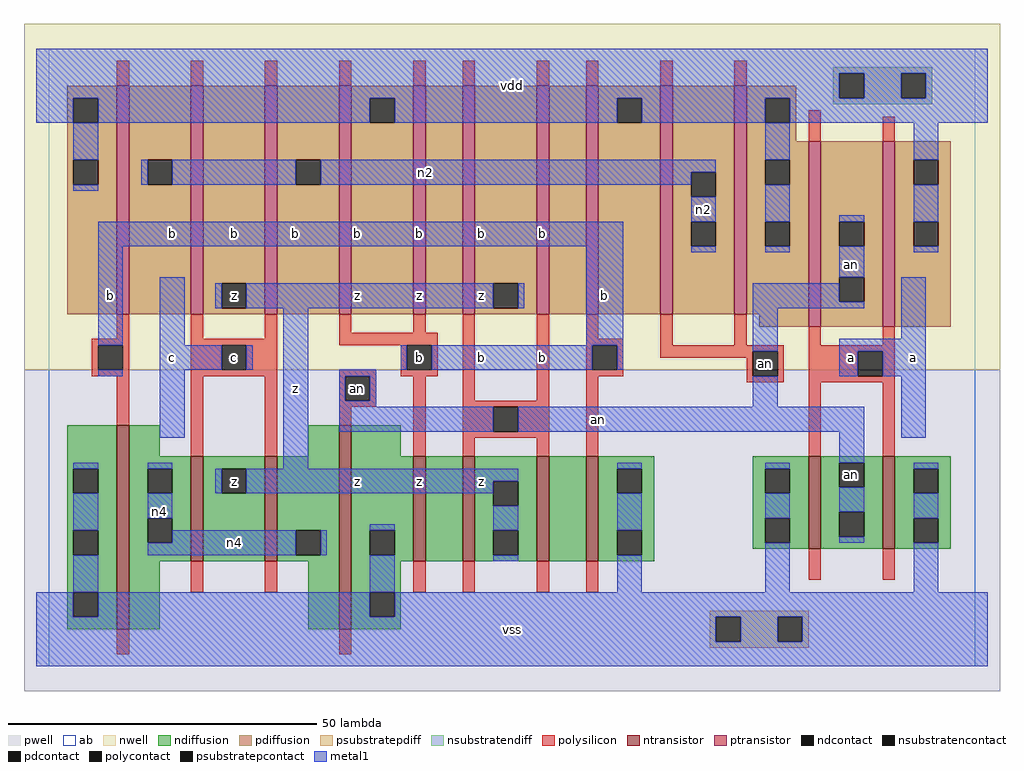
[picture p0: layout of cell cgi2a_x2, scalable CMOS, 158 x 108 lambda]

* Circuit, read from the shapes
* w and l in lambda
.subckt cgi2a_x2 a an b c n2 n4 vdd vss z
M1 n4 b vss vss nfet w=33 l=2
M2 z c n4 vss nfet w=17 l=2 m=2
M3 vss an n4 vss nfet w=33 l=2
M4 n1 b vss vss nfet w=17 l=2
M5 z an n1 vss nfet w=17 l=2
M6 n3 an z vss nfet w=17 l=2
M7 vss b n3 vss nfet w=17 l=2
M8 an a vss vss nfet w=15 l=2 m=2
M9 n2 b vdd vdd pfet w=37 l=2 m=2
M10 z c n2 vdd pfet w=37 l=2 m=2
M11 n5 b vdd vdd pfet w=37 l=2
M12 z an n5 vdd pfet w=37 l=2
M13 n6 an z vdd pfet w=37 l=2
M14 vdd b n6 vdd pfet w=37 l=2
M15 n2 an vdd vdd pfet w=37 l=2 m=2
M16 an a vdd vdd pfet w=30 l=2 m=2
.ends

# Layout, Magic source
magic
tech scmos
<< ab >>
rect 0 0 150 100
<< pwell >>
rect -4 -4 154 48
<< nwell >>
rect -4 48 154 104
<< polysilicon >>
rect 11 94 13 98
rect 23 94 25 98
rect 35 94 37 98
rect 47 94 49 98
rect 59 94 61 98
rect 67 94 69 98
rect 79 94 81 98
rect 87 94 89 98
rect 99 94 101 98
rect 111 94 113 98
rect 123 85 125 90
rect 135 85 137 89
rect 11 53 13 57
rect 7 52 13 53
rect 7 48 8 52
rect 12 48 13 52
rect 7 47 13 48
rect 11 39 13 47
rect 23 53 25 57
rect 35 53 37 57
rect 23 52 37 53
rect 47 54 49 57
rect 59 54 61 57
rect 47 52 63 54
rect 23 48 28 52
rect 32 48 37 52
rect 57 48 58 52
rect 62 48 63 52
rect 23 47 37 48
rect 23 34 25 47
rect 35 34 37 47
rect 47 47 53 48
rect 57 47 63 48
rect 47 43 48 47
rect 52 43 53 47
rect 47 42 53 43
rect 47 39 49 42
rect 23 12 25 17
rect 35 12 37 17
rect 59 34 61 47
rect 67 43 69 57
rect 79 43 81 57
rect 67 42 81 43
rect 67 38 72 42
rect 76 38 81 42
rect 67 37 81 38
rect 67 34 69 37
rect 79 34 81 37
rect 87 53 89 57
rect 87 52 93 53
rect 87 48 88 52
rect 92 48 93 52
rect 99 52 101 57
rect 111 52 113 57
rect 123 52 125 55
rect 135 52 137 55
rect 99 51 119 52
rect 99 50 114 51
rect 87 47 93 48
rect 113 47 114 50
rect 118 47 119 51
rect 87 34 89 47
rect 113 46 119 47
rect 123 51 137 52
rect 123 47 131 51
rect 135 47 137 51
rect 123 46 137 47
rect 123 34 125 46
rect 135 34 137 46
rect 59 12 61 17
rect 67 12 69 17
rect 79 12 81 17
rect 87 12 89 17
rect 123 14 125 19
rect 135 14 137 19
rect 11 2 13 6
rect 47 2 49 6
<< ndiffusion >>
rect 3 32 11 39
rect 3 28 4 32
rect 8 28 11 32
rect 3 22 11 28
rect 3 18 4 22
rect 8 18 11 22
rect 3 12 11 18
rect 3 8 4 12
rect 8 8 11 12
rect 3 6 11 8
rect 13 34 18 39
rect 42 34 47 39
rect 13 32 23 34
rect 13 28 16 32
rect 20 28 23 32
rect 13 24 23 28
rect 13 20 16 24
rect 20 20 23 24
rect 13 17 23 20
rect 25 32 35 34
rect 25 28 28 32
rect 32 28 35 32
rect 25 17 35 28
rect 37 22 47 34
rect 37 18 40 22
rect 44 18 47 22
rect 37 17 47 18
rect 13 6 18 17
rect 42 6 47 17
rect 49 34 57 39
rect 49 22 59 34
rect 49 18 52 22
rect 56 18 59 22
rect 49 17 59 18
rect 61 17 67 34
rect 69 30 79 34
rect 69 26 72 30
rect 76 26 79 30
rect 69 22 79 26
rect 69 18 72 22
rect 76 18 79 22
rect 69 17 79 18
rect 81 17 87 34
rect 89 32 98 34
rect 89 28 92 32
rect 96 28 98 32
rect 89 22 98 28
rect 89 18 92 22
rect 96 18 98 22
rect 114 32 123 34
rect 114 28 116 32
rect 120 28 123 32
rect 114 24 123 28
rect 114 20 116 24
rect 120 20 123 24
rect 114 19 123 20
rect 125 33 135 34
rect 125 29 128 33
rect 132 29 135 33
rect 125 25 135 29
rect 125 21 128 25
rect 132 21 135 25
rect 125 19 135 21
rect 137 32 146 34
rect 137 28 140 32
rect 144 28 146 32
rect 137 24 146 28
rect 137 20 140 24
rect 144 20 146 24
rect 137 19 146 20
rect 89 17 98 18
rect 49 12 57 17
rect 49 8 52 12
rect 56 8 57 12
rect 49 6 57 8
<< pdiffusion >>
rect 3 92 11 94
rect 3 88 4 92
rect 8 88 11 92
rect 3 82 11 88
rect 3 78 4 82
rect 8 78 11 82
rect 3 57 11 78
rect 13 82 23 94
rect 13 78 16 82
rect 20 78 23 82
rect 13 57 23 78
rect 25 62 35 94
rect 25 58 28 62
rect 32 58 35 62
rect 25 57 35 58
rect 37 82 47 94
rect 37 78 40 82
rect 44 78 47 82
rect 37 57 47 78
rect 49 92 59 94
rect 49 88 52 92
rect 56 88 59 92
rect 49 57 59 88
rect 61 57 67 94
rect 69 62 79 94
rect 69 58 72 62
rect 76 58 79 62
rect 69 57 79 58
rect 81 57 87 94
rect 89 92 99 94
rect 89 88 92 92
rect 96 88 99 92
rect 89 57 99 88
rect 101 80 111 94
rect 101 76 104 80
rect 108 76 111 80
rect 101 72 111 76
rect 101 68 104 72
rect 108 68 111 72
rect 101 57 111 68
rect 113 92 121 94
rect 113 88 116 92
rect 120 88 121 92
rect 113 85 121 88
rect 113 82 123 85
rect 113 78 116 82
rect 120 78 123 82
rect 113 72 123 78
rect 113 68 116 72
rect 120 68 123 72
rect 113 57 123 68
rect 115 55 123 57
rect 125 72 135 85
rect 125 68 128 72
rect 132 68 135 72
rect 125 63 135 68
rect 125 59 128 63
rect 132 59 135 63
rect 125 55 135 59
rect 137 82 146 85
rect 137 78 140 82
rect 144 78 146 82
rect 137 72 146 78
rect 137 68 140 72
rect 144 68 146 72
rect 137 55 146 68
<< metal1 >>
rect -2 96 152 100
rect -2 92 128 96
rect 132 92 138 96
rect 142 92 152 96
rect -2 88 4 92
rect 8 88 52 92
rect 56 88 92 92
rect 96 88 116 92
rect 120 88 152 92
rect 4 82 8 88
rect 116 82 120 88
rect 15 78 16 82
rect 20 78 40 82
rect 44 80 108 82
rect 44 78 104 80
rect 4 77 8 78
rect 104 72 108 76
rect 8 68 93 72
rect 8 52 12 68
rect 8 47 12 48
rect 18 52 22 63
rect 27 58 28 62
rect 32 58 72 62
rect 76 58 77 62
rect 18 48 28 52
rect 32 48 33 52
rect 18 37 22 48
rect 4 32 8 33
rect 4 22 8 28
rect 16 32 20 33
rect 38 32 42 58
rect 87 52 93 68
rect 104 67 108 68
rect 116 72 120 78
rect 140 82 144 88
rect 116 67 120 68
rect 128 72 132 73
rect 128 63 132 68
rect 140 72 144 78
rect 140 67 144 68
rect 57 48 58 52
rect 62 48 88 52
rect 92 48 93 52
rect 114 59 128 62
rect 114 58 132 59
rect 114 51 118 58
rect 138 53 142 63
rect 47 47 53 48
rect 47 43 48 47
rect 52 43 53 47
rect 47 42 53 43
rect 128 51 142 53
rect 128 47 131 51
rect 135 47 142 51
rect 114 42 118 47
rect 47 38 72 42
rect 76 38 132 42
rect 128 33 132 38
rect 138 37 142 47
rect 92 32 96 33
rect 27 28 28 32
rect 32 30 76 32
rect 32 28 72 30
rect 16 24 20 28
rect 52 22 56 23
rect 20 20 40 22
rect 16 18 40 20
rect 44 18 45 22
rect 4 12 8 18
rect 52 12 56 18
rect 72 22 76 26
rect 72 17 76 18
rect 92 22 96 28
rect 92 12 96 18
rect 116 32 120 33
rect 116 24 120 28
rect 128 25 132 29
rect 128 20 132 21
rect 140 32 144 33
rect 140 24 144 28
rect 116 12 120 20
rect 140 12 144 20
rect -2 8 4 12
rect 8 8 52 12
rect 56 8 152 12
rect -2 4 108 8
rect 112 4 118 8
rect 122 4 152 8
rect -2 0 152 4
<< ntransistor >>
rect 11 6 13 39
rect 23 17 25 34
rect 35 17 37 34
rect 47 6 49 39
rect 59 17 61 34
rect 67 17 69 34
rect 79 17 81 34
rect 87 17 89 34
rect 123 19 125 34
rect 135 19 137 34
<< ptransistor >>
rect 11 57 13 94
rect 23 57 25 94
rect 35 57 37 94
rect 47 57 49 94
rect 59 57 61 94
rect 67 57 69 94
rect 79 57 81 94
rect 87 57 89 94
rect 99 57 101 94
rect 111 57 113 94
rect 123 55 125 85
rect 135 55 137 85
<< polycontact >>
rect 8 48 12 52
rect 28 48 32 52
rect 58 48 62 52
rect 48 43 52 47
rect 72 38 76 42
rect 88 48 92 52
rect 114 47 118 51
rect 131 47 135 51
<< ndcontact >>
rect 4 28 8 32
rect 4 18 8 22
rect 4 8 8 12
rect 16 28 20 32
rect 16 20 20 24
rect 28 28 32 32
rect 40 18 44 22
rect 52 18 56 22
rect 72 26 76 30
rect 72 18 76 22
rect 92 28 96 32
rect 92 18 96 22
rect 116 28 120 32
rect 116 20 120 24
rect 128 29 132 33
rect 128 21 132 25
rect 140 28 144 32
rect 140 20 144 24
rect 52 8 56 12
<< pdcontact >>
rect 4 88 8 92
rect 4 78 8 82
rect 16 78 20 82
rect 28 58 32 62
rect 40 78 44 82
rect 52 88 56 92
rect 72 58 76 62
rect 92 88 96 92
rect 104 76 108 80
rect 104 68 108 72
rect 116 88 120 92
rect 116 78 120 82
rect 116 68 120 72
rect 128 68 132 72
rect 128 59 132 63
rect 140 78 144 82
rect 140 68 144 72
<< psubstratepcontact >>
rect 108 4 112 8
rect 118 4 122 8
<< nsubstratencontact >>
rect 128 92 132 96
rect 138 92 142 96
<< psubstratepdiff >>
rect 107 8 123 9
rect 107 4 108 8
rect 112 4 118 8
rect 122 4 123 8
rect 107 3 123 4
<< nsubstratendiff >>
rect 127 96 143 97
rect 127 92 128 96
rect 132 92 138 96
rect 142 92 143 96
rect 127 91 143 92
<< labels >>
rlabel polycontact 50 45 50 45 6 an
rlabel polycontact 116 49 116 49 6 an
rlabel metal1 18 25 18 25 6 n4
rlabel metal1 20 50 20 50 6 c
rlabel metal1 10 60 10 60 6 b
rlabel metal1 20 70 20 70 6 b
rlabel metal1 30 20 30 20 6 n4
rlabel ndcontact 30 30 30 30 6 z
rlabel metal1 50 30 50 30 6 z
rlabel metal1 50 43 50 43 6 an
rlabel polycontact 30 50 30 50 6 c
rlabel metal1 40 45 40 45 6 z
rlabel metal1 50 60 50 60 6 z
rlabel pdcontact 30 60 30 60 6 z
rlabel metal1 30 70 30 70 6 b
rlabel metal1 40 70 40 70 6 b
rlabel metal1 50 70 50 70 6 b
rlabel metal1 75 6 75 6 6 vss
rlabel metal1 60 30 60 30 6 z
rlabel metal1 70 30 70 30 6 z
rlabel polycontact 60 50 60 50 6 b
rlabel metal1 80 50 80 50 6 b
rlabel metal1 70 50 70 50 6 b
rlabel metal1 70 60 70 60 6 z
rlabel metal1 60 60 60 60 6 z
rlabel metal1 60 70 60 70 6 b
rlabel metal1 70 70 70 70 6 b
rlabel metal1 80 70 80 70 6 b
rlabel metal1 75 94 75 94 6 vdd
rlabel metal1 90 60 90 60 6 b
rlabel polycontact 116 50 116 50 6 an
rlabel metal1 106 74 106 74 6 n2
rlabel metal1 61 80 61 80 6 n2
rlabel metal1 89 40 89 40 6 an
rlabel ndcontact 130 31 130 31 6 an
rlabel metal1 140 50 140 50 6 a
rlabel metal1 130 50 130 50 6 a
rlabel metal1 130 65 130 65 6 an
<< end >>
